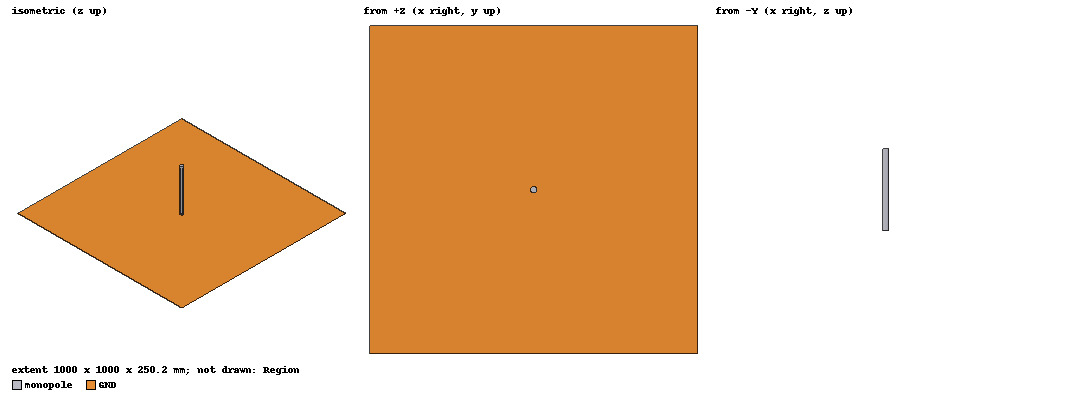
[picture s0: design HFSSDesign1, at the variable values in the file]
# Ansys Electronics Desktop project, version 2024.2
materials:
  vacuum: permittivity=1
  pec: conductivity=1e+30
  air: permittivity=1.0006 permeability=1.0000004

design HFSSDesign1 (HFSS, HFSS Modal Network, model units mm)
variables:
  lambda = 1000mm
  GND_length = lambda
  Height = lambda/4
  Radius = lambda/100
  Gap = lambda/4000
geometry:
  GND = rectangle(corner=(-GND_length/2, - GND_length/2, 0mm), x_size=GND_length, y_size=GND_length)
  monopole [pec] = cylinder(axis=Z, base_centre=(0mm, 0mm, Gap), radius=Radius, height=Height)
  Region [air] = region(absolute_offset=lambda/4 on all sides)
  port = rectangle(corner=(0mm, -Radius, 0mm), y_size=2*Radius, z_size=Gap)
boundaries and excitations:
  Rad1: Radiation Objects=Region
  GND: Perfect E Objects=GND
  1: Lumped Port Objects=port LumpedPortType=Modal Modes{Mode1{IntLine{(0, 0, 0.25) -> (0, 0, 0)} CharImp=Zpi}} Impedance=50ohm
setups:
  Setup1: HfssDriven Frequency=300MHz MaxDeltaS=0.02 MaximumPasses=20 MinimumPasses=1 MinimumConvergedPasses=1 PercentRefinement=30 BasisOrder=1 PortAccuracy=2 DrivenSolverType="Direct Solver"
    sweep Sweep: 200MHz to 400MHz, 200 points; Type=Fast SaveFields
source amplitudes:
  1:1: 1W 0deg
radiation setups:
  E_plane: Infinite Sphere Theta=-180deg..180deg step 1deg Phi=0deg..0deg step 2deg
  H_plane: Infinite Sphere Theta=90deg..90deg step 0deg Phi=0deg..360deg step 1deg
  3D_spere: Infinite Sphere Theta=0deg..180deg step 2deg Phi=0deg..360deg step 1deg
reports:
  Z Parameter Plot 1: re(Z(1,1)), im(Z(1,1)) vs Freq on Setup1 : Sweep; markers m1 at 300.50251MHz, m2 at 300.50251MHz
  VSWR Plot 1: VSWR(1) vs Freq on Setup1 : Sweep; markers m1 at 267.33668MHz
  Gain Plot 1: dB(GainTotal) vs Theta on Setup1 : LastAdaptive, E_plane [Phi=all Freq=0.3GHz]; markers m1 at 0deg, m4 at 46deg
  Gain Plot 2: dB(GainTotal) vs Phi on Setup1 : LastAdaptive, H_plane [Theta=all Freq=0.3GHz]
  Gain Plot 3: dB(GainTotal) vs Phi, Theta on Setup1 : LastAdaptive, 3D_spere [Freq=0.3GHz]
